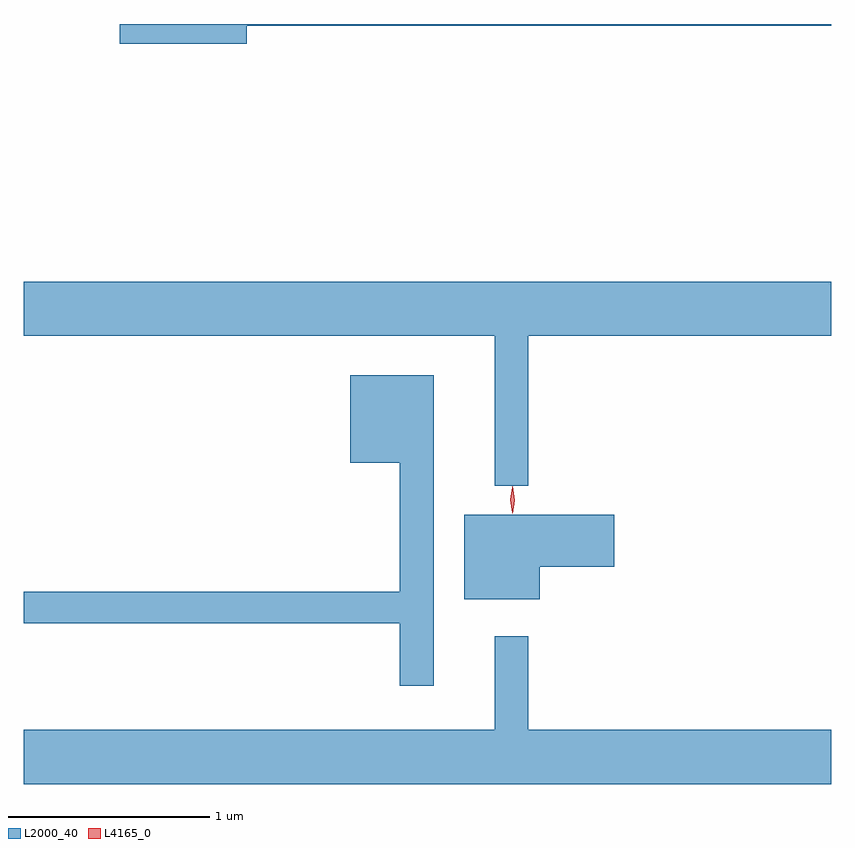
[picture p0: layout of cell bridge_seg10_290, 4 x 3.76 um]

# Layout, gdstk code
import gdstk
lib = gdstk.Library(unit=1e-6, precision=1e-09)
def P(c, l, *ps):  # polygons
    for p in ps: c.add(gdstk.Polygon(p, *l))
L2000_40 = (2000, 40)
L4165_0 = (4165, 0)

bridge_seg10_290 = lib.new_cell('bridge_seg10_290')
P(bridge_seg10_290, L2000_40, [(1405.074,2199.811),(1407.969,2199.811),(1407.969,2199.819),(1404.446,2199.819),(1404.446,2199.721),(1405.074,2199.721)],
  [(1406.469,2198.276),(1407.969,2198.276),(1407.969,2198.544),(1403.969,2198.544),(1403.969,2198.276),(1406.301,2198.276),(1406.301,2197.533),(1406.469,2197.533)],
  [(1405.999,2198.079),(1405.586,2198.079),(1405.586,2197.646),(1405.831,2197.646),(1405.831,2197.009),(1403.969,2197.009),(1403.969,2196.851),(1405.831,2196.851),(1405.831,2196.543),(1405.999,2196.543)],
  [(1406.524,2197.131),(1406.894,2197.131),(1406.894,2197.389),(1406.151,2197.389),(1406.151,2196.971),(1406.524,2196.971)],
  [(1407.969,2196.324),(1406.469,2196.324),(1406.469,2196.788),(1406.301,2196.788),(1406.301,2196.324),(1403.969,2196.324),(1403.969,2196.056),(1407.969,2196.056)])
P(bridge_seg10_290, L4165_0, [(1406.391,2197.394),(1406.391,2197.394),(1406.381,2197.462),(1406.39,2197.53),(1406.391,2197.53),(1406.391,2197.53),(1406.401,2197.462),(1406.392,2197.394)],
  [(1406.388,2197.4),(1406.388,2197.4),(1406.378,2197.463),(1406.388,2197.526),(1406.388,2197.527),(1406.388,2197.526),(1406.398,2197.463),(1406.388,2197.4)])

lib.write_gds('bridge_seg10_290.gds')
